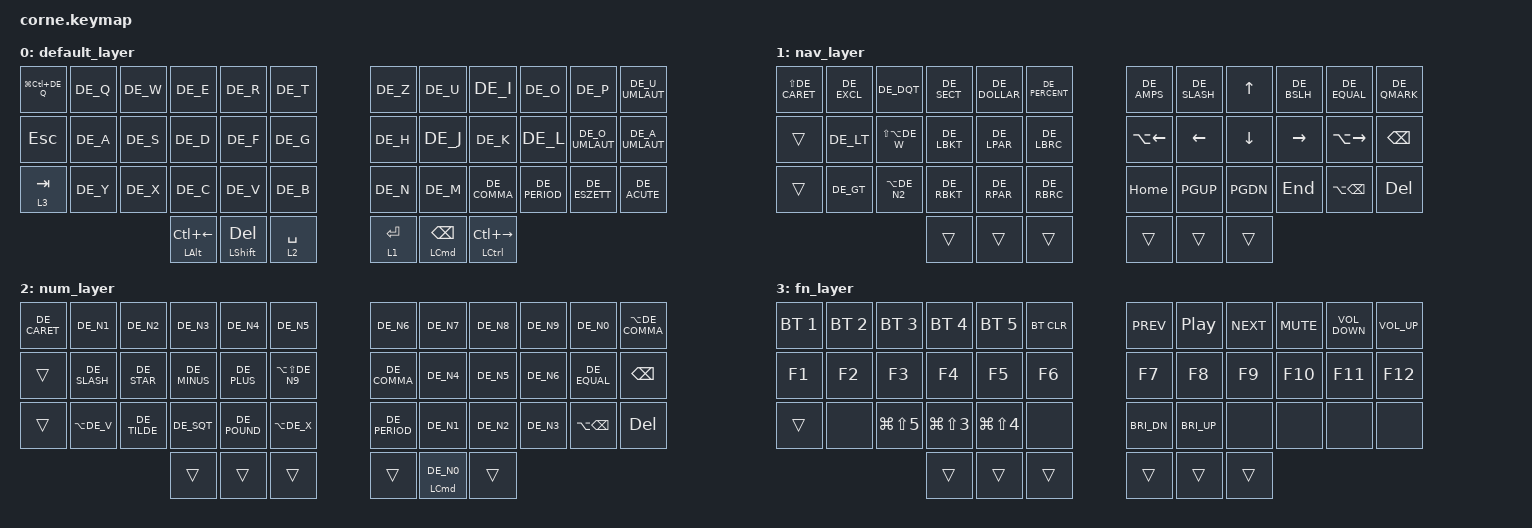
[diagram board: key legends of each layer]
/*
 * Copyright (c) 2020 The ZMK Contributors
 *
 * SPDX-License-Identifier: MIT
 */ 

#include <behaviors.dtsi>
#include "keys_de.h"
#include <dt-bindings/zmk/bt.h>
#include <dt-bindings/zmk/keys.h>
#include <dt-bindings/zmk/mouse.h>

/ {
    keymap {
        compatible = "zmk,keymap";

        default_layer {
            bindings = <
&kp LG(LC(DE_Q))  &kp DE_Q  &kp DE_W  &kp DE_E  &kp DE_R  &kp DE_T          &kp DE_Z  &kp DE_U  &kp DE_I      &kp DE_O       &kp DE_P         &kp DE_U_UMLAUT               
&kp ESC           &kp DE_A  &kp DE_S  &kp DE_D  &kp DE_F  &kp DE_G          &kp DE_H  &kp DE_J  &kp DE_K      &kp DE_L       &kp DE_O_UMLAUT  &kp DE_A_UMLAUT
&lt 3 TAB         &kp DE_Y  &kp DE_X  &kp DE_C  &kp DE_V  &kp DE_B          &kp DE_N  &kp DE_M  &kp DE_COMMA  &kp DE_PERIOD  &kp DE_ESZETT    &kp DE_ACUTE
                    &mt LALT LC(LEFT)  &mt LSHIFT DEL  &lt 2 SPACE          &lt 1 ENTER   &mt LCMD BSPC    &mt LCTRL LC(RIGHT)
            >;
        };

        nav_layer {
            bindings = <
&kp LS(DE_CARET)  &kp DE_EXCL  &kp DE_DQT           &kp DE_SECT  &kp DE_DOLLAR  &kp DE_PERCENT         &kp DE_AMPS   &kp DE_SLASH  &kp UP    &kp DE_BSLH  &kp DE_EQUAL   &kp DE_QMARK          
&trans            &kp DE_LT    &kp LS(LA(DE_W))  &kp DE_LBKT  &kp DE_LPAR    &kp DE_LBRC               &kp LA(LEFT)  &kp LEFT      &kp DOWN  &kp RIGHT    &kp LA(RIGHT)  &kp BSPC  
&trans            &kp DE_GT    &kp LA(DE_N2)     &kp DE_RBKT  &kp DE_RPAR    &kp DE_RBRC               &kp HOME      &kp PGUP      &kp PGDN  &kp END      &kp LA(BSPC)   &kp DEL
                                                 &trans       &trans         &trans                    &trans        &trans        &trans
            >;
        };

        num_layer {
            bindings = <
&kp DE_CARET  &kp DE_N1     &kp DE_N2     &kp DE_N3     &kp DE_N4     &kp DE_N5                &kp DE_N6      &kp DE_N7   &kp DE_N8  &kp DE_N9  &kp DE_N0     &kp LA(DE_COMMA)
&trans        &kp DE_SLASH  &kp DE_STAR   &kp DE_MINUS  &kp DE_PLUS   &kp LA(LS(DE_N9))        &kp DE_COMMA   &kp DE_N4   &kp DE_N5  &kp DE_N6  &kp DE_EQUAL  &kp BSPC
&trans        &kp LA(DE_V)  &kp DE_TILDE  &kp DE_SQT    &kp DE_POUND  &kp LA(DE_X)             &kp DE_PERIOD  &kp DE_N1   &kp DE_N2  &kp DE_N3  &kp LA(BSPC)  &kp DEL
                                          &trans        &trans        &trans                   &trans         &mt LCMD DE_N0    &trans
            >;
        };

 fn_layer {
            bindings = <
&bt BT_SEL 1  &bt BT_SEL 2  &bt BT_SEL 3    &bt BT_SEL 4    &bt BT_SEL 5    &bt BT_CLR               &kp C_PREV     &kp C_PP      &kp C_NEXT  &kp K_MUTE  &kp C_VOLUME_DOWN  &kp C_VOLUME_UP      
&kp F1        &kp F2        &kp F3          &kp F4          &kp F5          &kp F6                   &kp F7         &kp F8        &kp F9      &kp F10     &kp F11            &kp F12
&trans        &none         &kp LG(LS(N5))  &kp LG(LS(N3))  &kp LG(LS(N4))  &none                    &kp C_BRI_DN   &kp C_BRI_UP  &none       &none       &none              &none
                                            &trans          &trans          &trans                   &trans         &trans      &trans
            >;
        };
    };
};
